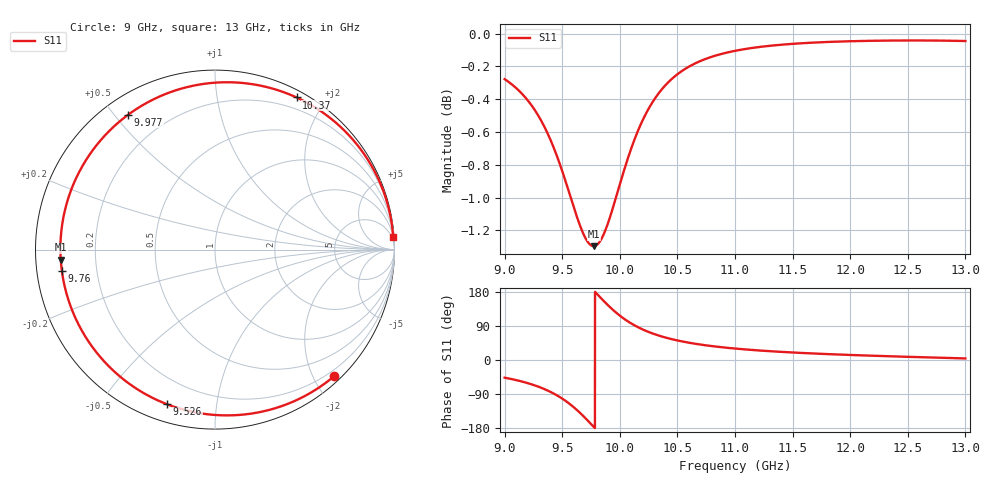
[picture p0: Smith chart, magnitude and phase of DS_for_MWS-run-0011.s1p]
! TOUCHSTONE file generated by CST DESIGN STUDIO
! Date and time: Wed Feb  5 13:38:26 2025
! Project name: C:\Work\MatlabApps\UnitCellOptimizationMatlab\CST\unitcell.cst
! Tree item: Tasks\Sweep1\SPara1\S-Parameters
! Header version: 2024
! Port assignment regex: !\s*Touchstone port\s*([0-9]+)\s*=\s*(CST MWS port|CST DES external port|CST DES block port)\s*(.+)\s* \(\"(.*)\"\)(\s*mode\s*([0-9]+))?.*
! Touchstone port assignment:
! Touchstone port 1 = CST DES external port 1 ("")
# GHz S MA R 50
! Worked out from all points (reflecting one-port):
!   4001 points, 9 GHz to 13 GHz, reference 50 ohm
!   lowest |S11| = -1.3 dB at 9.773 GHz (marker M1), VSWR 13.42, Z = 3.73 - j1.62 ohm
!   phase of S11 starts at -47 deg and turns -309 deg over the sweep
!   S11 on the Smith chart (normalised r, x): 9 GHz: 0.10, -2.32; 9.526 GHz: 0.08, -0.73; 9.76 GHz: 0.07, -0.07; 9.977 GHz: 0.07, +0.54; 10.37 GHz: 0.07, +1.67; 13 GHz: 2, +28
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9  0.9685 -46.6
9.143  0.9593 -56.2
9.273  0.9464 -68.2
9.387  0.93 -82.5
9.447  0.919 -92.0
9.5  0.908 -101.8
9.526  0.9022 -107.2
9.584  0.8889 -120.5
9.639  0.8769 -135.0
9.704  0.8659 -154.2
9.76  0.8615 -172.0
9.773  0.8613 -176.3
9.817  0.8632 169.4
9.863  0.869 154.9
9.921  0.8804 137.7
9.977  0.8938 122.7
10  0.8995 117.1
10.068  0.9157 102.3
10.145  0.9317 88.6
10.252  0.9489 73.7
10.367  0.9618 61.8
10.5  0.9719 51.6
10.717  0.9815 40.0
11  0.988 30.2
11.5  0.9929 19.8
12  0.9947 13.3
12.5  0.9952 8.4
13  0.9948 4.1
